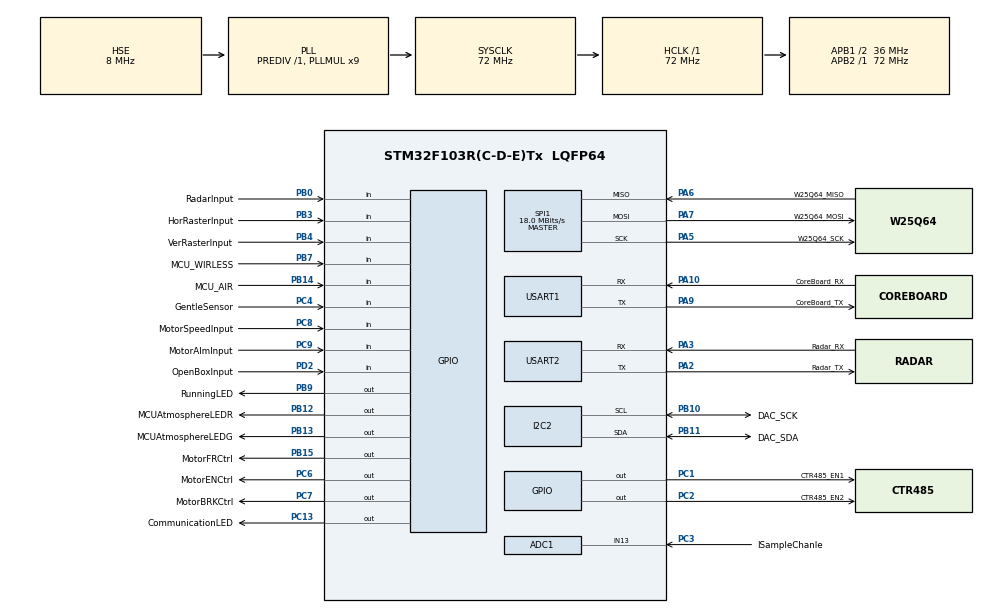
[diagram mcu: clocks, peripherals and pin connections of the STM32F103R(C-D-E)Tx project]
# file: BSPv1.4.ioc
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ADC1.Channel-0\#ChannelRegularConversion=ADC_CHANNEL_13
ADC1.Channel-1\#ChannelRegularConversion=ADC_CHANNEL_TEMPSENSOR
ADC1.ContinuousConvMode=DISABLE
ADC1.DataAlign=ADC_DATAALIGN_RIGHT
ADC1.DiscontinuousConvMode=DISABLE
ADC1.EnableAnalogWatchDog=false
ADC1.EnableRegularConversion=ENABLE
ADC1.ExternalTrigConv=ADC_SOFTWARE_START
ADC1.InjNumberOfConversion=0
ADC1.NbrOfConversion=2
ADC1.NbrOfConversionFlag=1
ADC1.Rank-0\#ChannelRegularConversion=1
ADC1.Rank-1\#ChannelRegularConversion=2
ADC1.SamplingTime-0\#ChannelRegularConversion=ADC_SAMPLETIME_239CYCLES_5
ADC1.SamplingTime-1\#ChannelRegularConversion=ADC_SAMPLETIME_239CYCLES_5
ADC1.ScanConvMode=ADC_SCAN_ENABLE
ADC1.master=1
Dma.ADC1.4.Direction=DMA_PERIPH_TO_MEMORY
Dma.ADC1.4.Instance=DMA1_Channel1
Dma.ADC1.4.MemDataAlignment=DMA_MDATAALIGN_WORD
Dma.ADC1.4.MemInc=DMA_MINC_ENABLE
Dma.ADC1.4.Mode=DMA_CIRCULAR
Dma.ADC1.4.PeriphDataAlignment=DMA_PDATAALIGN_WORD
Dma.ADC1.4.PeriphInc=DMA_PINC_DISABLE
Dma.ADC1.4.Priority=DMA_PRIORITY_LOW
Dma.Request0=USART1_RX
Dma.Request1=USART1_TX
Dma.Request2=USART2_RX
Dma.Request3=USART2_TX
Dma.Request4=ADC1
Dma.USART1_RX.0.Direction=DMA_PERIPH_TO_MEMORY
Dma.USART1_RX.0.Instance=DMA1_Channel5
Dma.USART1_RX.0.MemDataAlignment=DMA_MDATAALIGN_BYTE
Dma.USART1_RX.0.MemInc=DMA_MINC_ENABLE
Dma.USART1_RX.0.Mode=DMA_NORMAL
Dma.USART1_RX.0.PeriphDataAlignment=DMA_PDATAALIGN_BYTE
Dma.USART1_RX.0.PeriphInc=DMA_PINC_DISABLE
Dma.USART1_RX.0.Priority=DMA_PRIORITY_LOW
Dma.USART1_TX.1.Direction=DMA_MEMORY_TO_PERIPH
Dma.USART1_TX.1.Instance=DMA1_Channel4
Dma.USART1_TX.1.MemDataAlignment=DMA_MDATAALIGN_BYTE
Dma.USART1_TX.1.MemInc=DMA_MINC_ENABLE
Dma.USART1_TX.1.Mode=DMA_NORMAL
Dma.USART1_TX.1.PeriphDataAlignment=DMA_PDATAALIGN_BYTE
Dma.USART1_TX.1.PeriphInc=DMA_PINC_DISABLE
Dma.USART1_TX.1.Priority=DMA_PRIORITY_LOW
Dma.USART2_RX.2.Direction=DMA_PERIPH_TO_MEMORY
Dma.USART2_RX.2.Instance=DMA1_Channel6
Dma.USART2_RX.2.MemDataAlignment=DMA_MDATAALIGN_BYTE
Dma.USART2_RX.2.MemInc=DMA_MINC_ENABLE
Dma.USART2_RX.2.Mode=DMA_NORMAL
Dma.USART2_RX.2.PeriphDataAlignment=DMA_PDATAALIGN_BYTE
Dma.USART2_RX.2.PeriphInc=DMA_PINC_DISABLE
Dma.USART2_RX.2.Priority=DMA_PRIORITY_LOW
Dma.USART2_TX.3.Direction=DMA_MEMORY_TO_PERIPH
Dma.USART2_TX.3.Instance=DMA1_Channel7
Dma.USART2_TX.3.MemDataAlignment=DMA_MDATAALIGN_BYTE
Dma.USART2_TX.3.MemInc=DMA_MINC_ENABLE
Dma.USART2_TX.3.Mode=DMA_NORMAL
Dma.USART2_TX.3.PeriphDataAlignment=DMA_PDATAALIGN_BYTE
Dma.USART2_TX.3.PeriphInc=DMA_PINC_DISABLE
Dma.USART2_TX.3.Priority=DMA_PRIORITY_LOW
Mcu.Family=STM32F1
Mcu.Name=STM32F103R(C-D-E)Tx
Mcu.Package=LQFP64
NVIC.ADC1_2_IRQn=true\:0\:0\:false\:true\:true\:10\:true
NVIC.DMA1_Channel1_IRQn=true\:0\:0\:false\:true\:true\:5\:false
NVIC.DMA1_Channel4_IRQn=true\:0\:0\:false\:true\:true\:6\:false
NVIC.DMA1_Channel5_IRQn=true\:0\:0\:false\:true\:true\:7\:false
NVIC.DMA1_Channel6_IRQn=true\:0\:0\:false\:true\:true\:8\:false
NVIC.DMA1_Channel7_IRQn=true\:0\:0\:false\:true\:true\:9\:false
NVIC.I2C2_ER_IRQn=true\:0\:0\:false\:true\:true\:12\:true
NVIC.I2C2_EV_IRQn=true\:0\:0\:false\:true\:true\:11\:true
NVIC.PriorityGroup=NVIC_PRIORITYGROUP_4
NVIC.TIM4_IRQn=true\:0\:0\:false\:true\:true\:4\:true
NVIC.TIM5_IRQn=true\:0\:0\:false\:true\:true\:3\:true
NVIC.USART1_IRQn=true\:0\:0\:false\:true\:true\:1\:true
NVIC.USART2_IRQn=true\:0\:0\:false\:true\:true\:2\:true
PA10.GPIO_Label=CoreBoard_RX
PA10.GPIO_PuPd=GPIO_PULLUP
PA10.Mode=Asynchronous
PA10.Signal=USART1_RX
PA13.Mode=Serial_Wire
PA13.Signal=SYS_JTMS-SWDIO
PA14.Mode=Serial_Wire
PA14.Signal=SYS_JTCK-SWCLK
PA2.GPIO_Label=Radar_TX
PA2.Mode=Asynchronous
PA2.Signal=USART2_TX
PA3.GPIO_Label=Radar_RX
PA3.GPIO_PuPd=GPIO_PULLUP
PA3.Mode=Asynchronous
PA3.Signal=USART2_RX
PA5.GPIO_Label=W25Q64_SCK
PA5.Mode=Full_Duplex_Master
PA5.Signal=SPI1_SCK
PA6.GPIO_Label=W25Q64_MISO
PA6.Mode=Full_Duplex_Master
PA6.Signal=SPI1_MISO
PA7.GPIO_Label=W25Q64_MOSI
PA7.Mode=Full_Duplex_Master
PA7.Signal=SPI1_MOSI
PA9.GPIO_Label=CoreBoard_TX
PA9.Mode=Asynchronous
PA9.Signal=USART1_TX
PB0.GPIO_Label=RadarInput
PB0.GPIO_PuPd=GPIO_PULLUP
PB0.Signal=GPIO_Input
PB10.GPIO_Label=DAC_SCK
PB10.Mode=I2C
PB10.Signal=I2C2_SCL
PB11.GPIO_Label=DAC_SDA
PB11.Mode=I2C
PB11.Signal=I2C2_SDA
PB12.GPIO_Label=MCUAtmosphereLEDR
PB12.Signal=GPIO_Output
PB13.GPIO_Label=MCUAtmosphereLEDG
PB13.Signal=GPIO_Output
PB14.GPIO_Label=MCU_AIR
PB14.Signal=GPIO_Input
PB15.GPIO_Label=MotorFRCtrl
PB15.Signal=GPIO_Output
PB3.GPIO_Label=HorRasterInput
PB3.GPIO_PuPd=GPIO_PULLUP
PB3.Signal=GPIO_Input
PB4.GPIO_Label=VerRasterInput
PB4.GPIO_PuPd=GPIO_PULLDOWN
PB4.Signal=GPIO_Input
PB7.GPIO_Label=MCU_WIRLESS
PB7.GPIO_PuPd=GPIO_PULLUP
PB7.Signal=GPIO_Input
PB9.GPIO_Label=RunningLED
PB9.Signal=GPIO_Output
PC1.GPIO_Label=CTR485_EN1
PC1.GPIO_ModeDefaultOutputPP=GPIO_MODE_OUTPUT_PP
PC1.PinState=GPIO_PIN_RESET
PC1.Signal=GPIO_Output
PC13-TAMPER-RTC.GPIO_Label=CommunicationLED
PC13-TAMPER-RTC.Signal=GPIO_Output
PC2.GPIO_Label=CTR485_EN2
PC2.Signal=GPIO_Output
PC3.GPIO_Label=ISampleChanle
PC3.Signal=ADCx_IN13
PC4.GPIO_Label=GentleSensor
PC4.GPIO_PuPd=GPIO_PULLUP
PC4.Signal=GPIO_Input
PC6.GPIO_Label=MotorENCtrl
PC6.Signal=GPIO_Output
PC7.GPIO_Label=MotorBRKCtrl
PC7.Signal=GPIO_Output
PC8.GPIO_Label=MotorSpeedInput
PC8.GPIO_PuPd=GPIO_PULLUP
PC8.Signal=GPIO_Input
PC9.GPIO_Label=MotorAlmInput
PC9.GPIO_PuPd=GPIO_PULLDOWN
PC9.Signal=GPIO_Input
PD0-OSC_IN.Mode=HSE-External-Oscillator
PD0-OSC_IN.Signal=RCC_OSC_IN
PD1-OSC_OUT.Mode=HSE-External-Oscillator
PD1-OSC_OUT.Signal=RCC_OSC_OUT
PD2.GPIO_Label=OpenBoxInput
PD2.Signal=GPIO_Input
ProjectManager.HeapSize=0x200
ProjectManager.StackSize=0x400
ProjectManager.TargetToolchain=EWARM
RCC.ADCPresc=RCC_ADCPCLK2_DIV6
RCC.AHBFreq_Value=72000000
RCC.APB1CLKDivider=RCC_HCLK_DIV2
RCC.APB1Freq_Value=36000000
RCC.APB1TimFreq_Value=72000000
RCC.APB2Freq_Value=72000000
RCC.APB2TimFreq_Value=72000000
RCC.HCLKFreq_Value=72000000
RCC.PLLMUL=RCC_PLL_MUL9
RCC.PLLSourceVirtual=RCC_PLLSOURCE_HSE
RCC.SYSCLKFreq_VALUE=72000000
RCC.SYSCLKSource=RCC_SYSCLKSOURCE_PLLCLK
RCC.USBFreq_Value=72000000
SH.ADCx_IN13.0=ADC1_IN13,IN13
SPI1.BaudRatePrescaler=SPI_BAUDRATEPRESCALER_4
SPI1.CalculateBaudRate=18.0 MBits/s
SPI1.DataSize=SPI_DATASIZE_16BIT
SPI1.Direction=SPI_DIRECTION_2LINES
SPI1.Mode=SPI_MODE_MASTER
SPI1.VirtualType=VM_MASTER
TIM4.Period=100-1
TIM4.Prescaler=72 - 1
TIM5.Period=1000-1
TIM5.Prescaler=72 - 1
USART1.VirtualMode=VM_ASYNC
USART2.VirtualMode=VM_ASYNC
VP_ADC1_TempSens_Input.Mode=IN-TempSens
VP_TIM4_VS_ClockSourceINT.Mode=Internal
VP_TIM5_VS_ClockSourceINT.Mode=Internal
board=BSPv1.4

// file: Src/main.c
/**
  ******************************************************************************
  * File Name          : main.c
  * Description        : Main program body
  ******************************************************************************
  ** This notice applies to any and all portions of this file
  * that are not between comment pairs USER CODE BEGIN and
  * USER CODE END. Other portions of this file, whether
  * inserted by the user or by software development tools
  * are owned by their respective copyright owners.
  *
  * COPYRIGHT(c) 2018 STMicroelectronics
  *
  * Redistribution and use in source and binary forms, with or without modification,
  * are permitted provided that the following conditions are met:
  *   1. Redistributions of source code must retain the above copyright notice,
  *      this list of conditions and the following disclaimer.
  *   2. Redistributions in binary form must reproduce the above copyright notice,
  *      this list of conditions and the following disclaimer in the documentation
  *      and/or other materials provided with the distribution.
  *   3. Neither the name of STMicroelectronics nor the names of its contributors
  *      may be used to endorse or promote products derived from this software
  *      without specific prior written permission.
  *
  * THIS SOFTWARE IS PROVIDED BY THE COPYRIGHT HOLDERS AND CONTRIBUTORS "AS IS"
  * AND ANY EXPRESS OR IMPLIED WARRANTIES, INCLUDING, BUT NOT LIMITED TO, THE
  * IMPLIED WARRANTIES OF MERCHANTABILITY AND FITNESS FOR A PARTICULAR PURPOSE ARE
  * DISCLAIMED. IN NO EVENT SHALL THE COPYRIGHT HOLDER OR CONTRIBUTORS BE LIABLE
  * FOR ANY DIRECT, INDIRECT, INCIDENTAL, SPECIAL, EXEMPLARY, OR CONSEQUENTIAL
  * DAMAGES (INCLUDING, BUT NOT LIMITED TO, PROCUREMENT OF SUBSTITUTE GOODS OR
  * SERVICES; LOSS OF USE, DATA, OR PROFITS; OR BUSINESS INTERRUPTION) HOWEVER
  * CAUSED AND ON ANY THEORY OF LIABILITY, WHETHER IN CONTRACT, STRICT LIABILITY,
  * OR TORT (INCLUDING NEGLIGENCE OR OTHERWISE) ARISING IN ANY WAY OUT OF THE USE
  * OF THIS SOFTWARE, EVEN IF ADVISED OF THE POSSIBILITY OF SUCH DAMAGE.
  *
  ******************************************************************************
  */

#include "main.h"
#include "stm32f1xx_hal.h"
#include "adc.h"
#include "dma.h"
#include "i2c.h"
#include "spi.h"
#include "tim.h"
#include "usart.h"
#include "gpio.h"

/* USER CODE BEGIN Includes */
#include "bsp_protocol.h"
#include "bsp_gentlesensor.h"
#include "bsp_common.h"
#include "bsp_motor.h"
#include "bsp_led.h"
#include "BSP_DAC5571.h"
#include "bsp_log.h"
/* USER CODE END Includes */

/* USER CODE BEGIN PV */
/* Private variables ---------------------------------------------------------*/
extern  USARTRECIVETYPE     DriverBoardUsartType;

MOTORMACHINE gMotorMachine;
PROTOCOLCMD  gDriverBoardProtocolCmd;
GPIOSTATUSDETECTION gGentleSensorStatusDetection;
GPIOSTATUSDETECTION gRadarInputStatusGpio;
GPIOSTATUSDETECTION gMCUAIRInputStatusGpio;

uint32_t        gADCBuffer[20];
uint32_t        gICurrentValue;
uint32_t        gTempertureValue;

uint8_t         gSendLogReportFlag;
uint32_t        gLogCnt;

uint8_t		gCtrlSpeedTimFlag;
uint8_t		gCtrlSpeedTimCnt;
uint16_t	gCtrlSpeedCnt;

uint8_t         gComingCarFlag;
uint32_t        gWaitCnt;

uint8_t gVerLastReadVal;
uint8_t gVerCurrentReadVal;
uint8_t gHorLastReadVal;
uint8_t gHorCurrentReadVal;

uint16_t    gTIM4Cnt;
uint8_t     gTIM4CntFlag;

uint16_t    gTIM5Cnt;
uint8_t     gTIM5CntFlag;
uint16_t    gTIM5LedCnt;
uint8_t     gTIM5LedFlag;
/* USER CODE END PV */

void SystemClock_Config(void);
static void MX_NVIC_Init(void);

/* USER CODE BEGIN PFP */
/* Private function prototypes -----------------------------------------------*/
void CheckStatus(void);
/* USER CODE END PFP */

int main(void)
{

  /* USER CODE BEGIN 1 */
  uint8_t i;

  /* USER CODE END 1 */

  /* MCU Configuration----------------------------------------------------------*/

  /* Reset of all peripherals, Initializes the Flash interface and the Systick. */
  HAL_Init();

  /* Configure the system clock */
  SystemClock_Config();

  /* Initialize all configured peripherals */
  MX_GPIO_Init();
  MX_DMA_Init();
  MX_ADC1_Init();
  MX_I2C2_Init();
  MX_SPI1_Init();
  MX_TIM4_Init();
  MX_TIM5_Init();
  MX_USART1_UART_Init();
  MX_USART2_UART_Init();

  /* Initialize interrupts */
  MX_NVIC_Init();

  /* USER CODE BEGIN 2 */
  gRadarInputStatusGpio.GpioFilterCntSum  = 10;
  gMCUAIRInputStatusGpio.GpioFilterCntSum = 5;

  HAL_ADC_Start_DMA(&hadc1, (uint32_t*)&gADCBuffer,20);

  HAL_TIM_Base_Start_IT(&htim4);
  HAL_TIM_Base_Start_IT(&htim5);

  BSP_MotorInit();
  BSP_DriverBoardProtocolInit();
  BSP_RUNNINGLED_ON();
  BSP_DAC5571_Init(NormalOperationMode);

  /* USER CODE END 2 */

  /* Infinite loop */
  while (1)
  {

  /* USER CODE BEGIN 3 */
    BSP_MotorCheck();
    BSP_MotorAction();

    /* 电机调速 */
    if(gMotorMachine.RunningState && UPDIR == gMotorMachine.RunDir)
    {
      if(gCtrlSpeedTimFlag)
      {
        gCtrlSpeedTimFlag = 0;
        BSP_DAC5571_Check();
      }
    }

    if(gMotorMachine.RunningState && DOWNDIR == gMotorMachine.RunDir)
    {
       BSP_DAC5571_WriteValue(NormalOperationMode, 0x9F);
    }

    /* 命令处理 */
    BSP_HandingUartDataFromDriverBoard();
    BSP_HandingCmdFromDriverBoard(&gDriverBoardProtocolCmd);

    if(gTIM5CntFlag)
    {
      for(i = 0; i < 20; )
      {
        gICurrentValue += gADCBuffer[i++];
        gTempertureValue += gADCBuffer[i++];
      }
      gICurrentValue   /= 10;
      gTempertureValue /= 10;
      gTIM5CntFlag = 0;
    }

    /* 日志信息检测 */
    CheckStatus();

    /* 日志信息上报 */
    if(gSendLogReportFlag)
    {
      BSP_ReportLogInfo();
      gSendLogReportFlag = 0;
    }

    /* 氛围灯检测 */
    if(gTIM5LedFlag)
    {
      BSP_LEDCheck();
      gTIM5LedFlag = 0;
    }

  }
  /* USER CODE END 3 */

}

/** System Clock Configuration
*/
void SystemClock_Config(void)
{

  RCC_OscInitTypeDef RCC_OscInitStruct;
  RCC_ClkInitTypeDef RCC_ClkInitStruct;
  RCC_PeriphCLKInitTypeDef PeriphClkInit;

    /**Initializes the CPU, AHB and APB busses clocks
    */
  RCC_OscInitStruct.OscillatorType = RCC_OSCILLATORTYPE_HSE;
  RCC_OscInitStruct.HSEState = RCC_HSE_ON;
  RCC_OscInitStruct.HSEPredivValue = RCC_HSE_PREDIV_DIV1;
  RCC_OscInitStruct.HSIState = RCC_HSI_ON;
  RCC_OscInitStruct.PLL.PLLState = RCC_PLL_ON;
  RCC_OscInitStruct.PLL.PLLSource = RCC_PLLSOURCE_HSE;
  RCC_OscInitStruct.PLL.PLLMUL = RCC_PLL_MUL9;
  if (HAL_RCC_OscConfig(&RCC_OscInitStruct) != HAL_OK)
  {
    _Error_Handler(__FILE__, __LINE__);
  }

    /**Initializes the CPU, AHB and APB busses clocks
    */
  RCC_ClkInitStruct.ClockType = RCC_CLOCKTYPE_HCLK|RCC_CLOCKTYPE_SYSCLK
                              |RCC_CLOCKTYPE_PCLK1|RCC_CLOCKTYPE_PCLK2;
  RCC_ClkInitStruct.SYSCLKSource = RCC_SYSCLKSOURCE_PLLCLK;
  RCC_ClkInitStruct.AHBCLKDivider = RCC_SYSCLK_DIV1;
  RCC_ClkInitStruct.APB1CLKDivider = RCC_HCLK_DIV2;
  RCC_ClkInitStruct.APB2CLKDivider = RCC_HCLK_DIV1;

  if (HAL_RCC_ClockConfig(&RCC_ClkInitStruct, FLASH_LATENCY_2) != HAL_OK)
  {
    _Error_Handler(__FILE__, __LINE__);
  }

  PeriphClkInit.PeriphClockSelection = RCC_PERIPHCLK_ADC;
  PeriphClkInit.AdcClockSelection = RCC_ADCPCLK2_DIV6;
  if (HAL_RCCEx_PeriphCLKConfig(&PeriphClkInit) != HAL_OK)
  {
    _Error_Handler(__FILE__, __LINE__);
  }

    /**Configure the Systick interrupt time
    */
  HAL_SYSTICK_Config(HAL_RCC_GetHCLKFreq()/1000);

    /**Configure the Systick
    */
  HAL_SYSTICK_CLKSourceConfig(SYSTICK_CLKSOURCE_HCLK);

  /* SysTick_IRQn interrupt configuration */
  HAL_NVIC_SetPriority(SysTick_IRQn, 0, 0);
}

/** NVIC Configuration
*/
static void MX_NVIC_Init(void)
{
  /* USART1_IRQn interrupt configuration */
  HAL_NVIC_SetPriority(USART1_IRQn, 0, 0);
  HAL_NVIC_EnableIRQ(USART1_IRQn);
  /* USART2_IRQn interrupt configuration */
  HAL_NVIC_SetPriority(USART2_IRQn, 0, 0);
  HAL_NVIC_EnableIRQ(USART2_IRQn);
  /* TIM5_IRQn interrupt configuration */
  HAL_NVIC_SetPriority(TIM5_IRQn, 0, 0);
  HAL_NVIC_EnableIRQ(TIM5_IRQn);
  /* TIM4_IRQn interrupt configuration */
  HAL_NVIC_SetPriority(TIM4_IRQn, 0, 0);
  HAL_NVIC_EnableIRQ(TIM4_IRQn);
  /* DMA1_Channel1_IRQn interrupt configuration */
  HAL_NVIC_SetPriority(DMA1_Channel1_IRQn, 0, 0);
  HAL_NVIC_EnableIRQ(DMA1_Channel1_IRQn);
  /* DMA1_Channel4_IRQn interrupt configuration */
  HAL_NVIC_SetPriority(DMA1_Channel4_IRQn, 0, 0);
  HAL_NVIC_EnableIRQ(DMA1_Channel4_IRQn);
  /* DMA1_Channel5_IRQn interrupt configuration */
  HAL_NVIC_SetPriority(DMA1_Channel5_IRQn, 0, 0);
  HAL_NVIC_EnableIRQ(DMA1_Channel5_IRQn);
  /* DMA1_Channel6_IRQn interrupt configuration */
  HAL_NVIC_SetPriority(DMA1_Channel6_IRQn, 0, 0);
  HAL_NVIC_EnableIRQ(DMA1_Channel6_IRQn);
  /* DMA1_Channel7_IRQn interrupt configuration */
  HAL_NVIC_SetPriority(DMA1_Channel7_IRQn, 0, 0);
  HAL_NVIC_EnableIRQ(DMA1_Channel7_IRQn);
  /* ADC1_2_IRQn interrupt configuration */
  HAL_NVIC_SetPriority(ADC1_2_IRQn, 0, 0);
  HAL_NVIC_EnableIRQ(ADC1_2_IRQn);
  /* I2C2_EV_IRQn interrupt configuration */
  HAL_NVIC_SetPriority(I2C2_EV_IRQn, 0, 0);
  HAL_NVIC_EnableIRQ(I2C2_EV_IRQn);
  /* I2C2_ER_IRQn interrupt configuration */
  HAL_NVIC_SetPriority(I2C2_ER_IRQn, 0, 0);
  HAL_NVIC_EnableIRQ(I2C2_ER_IRQn);
}

/* USER CODE BEGIN 4 */
void HAL_TIM_PeriodElapsedCallback(TIM_HandleTypeDef *htim)
{
  /* Prevent unused argument(s) compilation warning */
  UNUSED(htim);
  /* NOTE : This function Should not be modified, when the callback is needed,
            the __HAL_TIM_PeriodElapsedCallback could be implemented in the user file
   */
  /* 0.1 ms*/
  if(htim4.Instance == htim->Instance)
  {
    gVerCurrentReadVal = HAL_GPIO_ReadPin(VerRasterInput_GPIO_Port, VerRasterInput_Pin);
    gHorCurrentReadVal = HAL_GPIO_ReadPin(HorRasterInput_GPIO_Port, HorRasterInput_Pin);

    if(0 == gVerCurrentReadVal && 0 == gVerLastReadVal)
    {
      gMotorMachine.VerFilterCnt ++;
      if(gMotorMachine.VerFilterCnt > 20)
      {
        gMotorMachine.VerticalRasterState = 1;
        gMotorMachine.VerFilterCnt = 0;
        if(UPDIR == gMotorMachine.RunDir)
        {
          gMotorMachine.RunDir = DOWNDIR;
          gMotorMachine.RunningState = 0;
          BSP_MotorStop();
        }
      }
    }
    else
    {
      gMotorMachine.VerticalRasterState = 0;
      gMotorMachine.VerFilterCnt = 0;
    }

    if(0 == gHorCurrentReadVal && 0 == gHorLastReadVal)
    {
      gMotorMachine.HorFilterCnt ++;
      if(gMotorMachine.HorFilterCnt > 20)
      {
        gMotorMachine.HorizontalRasterState = 1;
        gMotorMachine.HorFilterCnt = 0;
        if(DOWNDIR == gMotorMachine.RunDir)
        {
          gMotorMachine.RunDir = UPDIR;
          gMotorMachine.RunningState = 0;
          gCtrlSpeedCnt = 0;//水平到位
          BSP_MotorStop();
        }
      }
    }
    else
    {
      gMotorMachine.HorizontalRasterState = 0;
      gMotorMachine.HorFilterCnt = 0;
    }
    gVerLastReadVal     = gVerCurrentReadVal;
    gHorLastReadVal     = gHorCurrentReadVal;
  }

  /* 1ms */
  if(htim5.Instance == htim->Instance)
  {

    gCtrlSpeedTimCnt++;
    gLogCnt ++;
    if(gCtrlSpeedTimCnt > 4)
    {
      gCtrlSpeedTimFlag = 1;
      gCtrlSpeedTimCnt = 0;
    }

    gTIM5Cnt++;
    if(0 == (gTIM5Cnt%250))
    {
      gTIM5LedFlag = 1;
    }

    if(gTIM5Cnt > 5000)
    {
      gTIM5CntFlag = 1;
      gTIM5Cnt = 0;
    }

    if(gLogCnt > 15000)
    {
      gSendLogReportFlag = 1;
      gLogCnt = 0;
    }
    /* 压力波检测 */
    gMCUAIRInputStatusGpio.GpioCurrentReadVal = HAL_GPIO_ReadPin(MCU_AIR_GPIO_Port,MCU_AIR_Pin);
    if(0 == gMCUAIRInputStatusGpio.GpioCurrentReadVal && 0 == gMCUAIRInputStatusGpio.GpioLastReadVal )
    {
      if(0 == gMCUAIRInputStatusGpio.GpioCheckedFlag)
      {
        gMCUAIRInputStatusGpio.GpioFilterCnt ++;
        if(gMCUAIRInputStatusGpio.GpioFilterCnt > gMCUAIRInputStatusGpio.GpioFilterCntSum && 0 == gMCUAIRInputStatusGpio.GpioStatusVal)
        {
          gMotorMachine.AirSensorFlag = 1;
          gMCUAIRInputStatusGpio.GpioStatusVal = 1;
          gMCUAIRInputStatusGpio.GpioFilterCnt = 0;
          gMCUAIRInputStatusGpio.GpioCheckedFlag = 1;
        }
      }
    }
    else
    {
      gMotorMachine.AirSensorFlag = 0;
      gMCUAIRInputStatusGpio.GpioCheckedFlag = 0;
      gMCUAIRInputStatusGpio.GpioStatusVal = 0;
      gMCUAIRInputStatusGpio.GpioSendDataFlag = 1;
    }

    /* 雷达检测 */
    gRadarInputStatusGpio.GpioCurrentReadVal = HAL_GPIO_ReadPin(RadarInput_GPIO_Port, RadarInput_Pin);
    if(0 == gRadarInputStatusGpio.GpioCurrentReadVal && 0 == gRadarInputStatusGpio.GpioLastReadVal)
    {
      if(0 == gRadarInputStatusGpio.GpioCheckedFlag)
      {
        gRadarInputStatusGpio.GpioFilterCnt ++;
        if(gRadarInputStatusGpio.GpioFilterCnt > gRadarInputStatusGpio.GpioFilterCntSum && 0 == gRadarInputStatusGpio.GpioStatusVal)
        {
          gRadarInputStatusGpio.GpioStatusVal = 1;
          gRadarInputStatusGpio.GpioFilterCnt = 0;
          gRadarInputStatusGpio.GpioCheckedFlag = 1;
          gMotorMachine.RadarSensorFlag = 1;
        }
      }
    }
    else
    {
      gMotorMachine.RadarSensorFlag = 0;
      gRadarInputStatusGpio.GpioCheckedFlag = 0;
      gRadarInputStatusGpio.GpioStatusVal = 0;
      gRadarInputStatusGpio.GpioSendDataFlag = 1;
    }
    gRadarInputStatusGpio.GpioLastReadVal = gRadarInputStatusGpio.GpioCurrentReadVal;

    /* 地感检测 */
    gGentleSensorStatusDetection.GpioCurrentReadVal = HAL_GPIO_ReadPin(GentleSensor_GPIO_Port,GentleSensor_Pin);
    if(0 == gGentleSensorStatusDetection.GpioCurrentReadVal && 0 == gGentleSensorStatusDetection.GpioLastReadVal)
    {
      if(0 == gGentleSensorStatusDetection.GpioCheckedFlag)
      {
        gGentleSensorStatusDetection.GpioFilterCnt ++;
        if(gGentleSensorStatusDetection.GpioFilterCnt > gGentleSensorStatusDetection.GpioFilterCntSum && 0 == gGentleSensorStatusDetection.GpioStatusVal)
        {
          gGentleSensorStatusDetection.GpioStatusVal = 1;
          gGentleSensorStatusDetection.GpioFilterCnt = 0;
          gGentleSensorStatusDetection.GpioCheckedFlag = 1;
          gMotorMachine.GentleSensorFlag = 1;
        }
      }
    }
    else
    {

      //车离开之后，清空标记位
      if(gGentleSensorStatusDetection.GpioStatusVal && gComingCarFlag)
      {
        gWaitCnt = 0;
        gComingCarFlag = 0;
      }

      gMotorMachine.GentleSensorFlag = 0;
      gGentleSensorStatusDetection.GpioCheckedFlag       = 0;
      gGentleSensorStatusDetection.GpioFilterCnt     = 0;
      gGentleSensorStatusDetection.GpioStatusVal     = 0;
      gGentleSensorStatusDetection.GpioSendDataFlag  = 1;
    }
    gGentleSensorStatusDetection.GpioLastReadVal = gGentleSensorStatusDetection.GpioCurrentReadVal;

    if(gGentleSensorStatusDetection.GpioValidLogicTimeCnt > 80)
    {
      gGentleSensorStatusDetection.GpioValidLogicTimeCnt--;
    }

    //如果60s内车未通过，自动关闸
    if(gComingCarFlag)
    {
      gWaitCnt ++;
      if(gWaitCnt > 60000)
      {
        gWaitCnt = 0;
        gComingCarFlag = 0;
      }
    }
  }

}

void CheckStatus(void)
{
  BSP_UpDoorOpenSpeed(0x02);
  BSP_UpCurrentPeak((uint16_t)gICurrentValue);
  BSP_UpMotorStatus(gMotorMachine.RunningState);
  BSP_UpGentleStatus(gMotorMachine.GentleSensorFlag);
  BSP_UpPressureWaveCondition(gMotorMachine.AirSensorFlag);
}
/* USER CODE END 4 */

void _Error_Handler(char * file, int line)
{
  while(1)
  {
  }
}

/************************ (C) COPYRIGHT STMicroelectronics *****END OF FILE****/
